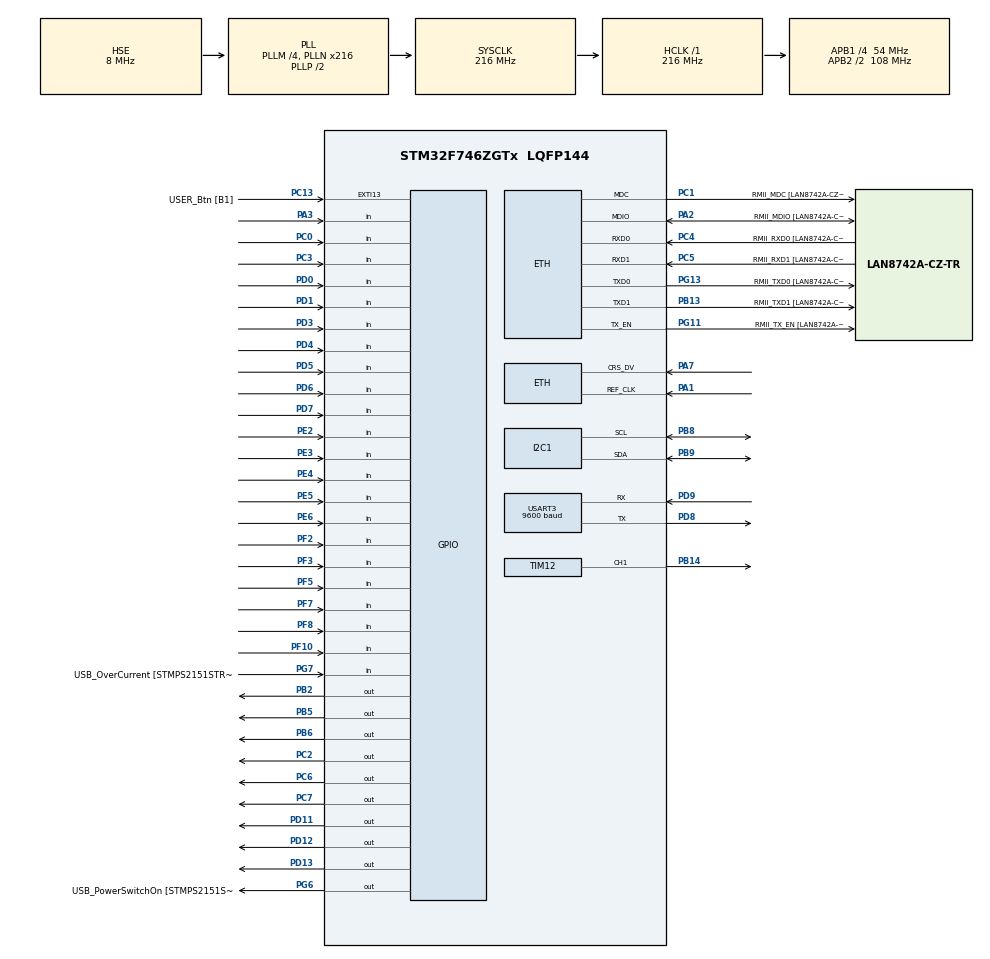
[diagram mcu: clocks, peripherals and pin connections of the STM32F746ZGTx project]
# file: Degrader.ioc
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CORTEX_M7.MPU_Control=__NULL
ETH.MediaInterface=HAL_ETH_RMII_MODE
I2C1.Timing=0x20404768
LWIP.BSP.number=1
LWIP.ETHARP_DEBUG=LWIP_DBG_ON
LWIP.ETH_RX_BUFFER_CNT=20
LWIP.GATEWAY_ADDRESS=192.168.007.001
LWIP.ICMP_DEBUG=LWIP_DBG_ON
LWIP.IP_ADDRESS=192.168.007.104
LWIP.LWIP_DHCP=0
LWIP.LWIP_RAM_HEAP_POINTER=0x20010000
LWIP.MEMP_NUM_PBUF=20
LWIP.MEMP_NUM_TCP_PCB_LISTEN=2
LWIP.MEM_DEBUG=LWIP_DBG_ON
LWIP.MEM_SIZE=20000
LWIP.NETMASK_ADDRESS=255.255.255.000
LWIP.PBUF_DEBUG=LWIP_DBG_ON
LWIP.PBUF_POOL_SIZE=20
LWIP.RAW_DEBUG=LWIP_DBG_ON
LWIP.SYS_DEBUG=LWIP_DBG_ON
LWIP.TCPIP_DEBUG=LWIP_DBG_ON
LWIP.TCP_DEBUG=LWIP_DBG_ON
LWIP.TCP_INPUT_DEBUG=LWIP_DBG_ON
LWIP.TCP_OUTPUT_DEBUG=LWIP_DBG_ON
LWIP.Version=v2.1.2_Cube
LWIP0.BSP.STBoard=false
LWIP0.BSP.api=BSP_COMPONENT_DRIVER
LWIP0.BSP.component=LAN8742
LWIP0.BSP.instance=LAN8742
LWIP0.BSP.name=Driver_PHY
LWIP0.BSP.semaphore=S_LAN8742
LWIP0.BSP.solution=LAN8742
Mcu.Family=STM32F7
Mcu.Name=STM32F746ZGTx
Mcu.Package=LQFP144
NVIC.PriorityGroup=NVIC_PRIORITYGROUP_4
NVIC.TIM2_IRQn=true\:0\:0\:false\:false\:true\:true\:true\:true
NVIC.TIM8_BRK_TIM12_IRQn=true\:0\:0\:false\:false\:true\:true\:true\:true
PA1.Mode=RMII
PA1.Signal=ETH_REF_CLK
PA10.GPIO_Label=USB_ID
PA10.Signal=USB_OTG_FS_ID
PA11.GPIO_Label=USB_DM
PA11.Signal=USB_OTG_FS_DM
PA12.GPIO_Label=USB_DP
PA12.Signal=USB_OTG_FS_DP
PA13.GPIO_Label=TMS
PA13.Mode=Serial_Wire
PA13.Signal=SYS_JTMS-SWDIO
PA14.GPIO_Label=TCK
PA14.Mode=Serial_Wire
PA14.Signal=SYS_JTCK-SWCLK
PA2.GPIO_Label=RMII_MDIO [LAN8742A-CZ-TR_MDIO]
PA2.Mode=RMII
PA2.Signal=ETH_MDIO
PA3.GPIO_PuPd=GPIO_PULLDOWN
PA3.Signal=GPIO_Input
PA7.Mode=RMII
PA7.Signal=ETH_CRS_DV
PA8.GPIO_Label=USB_SOF [TP1]
PA8.Signal=USB_OTG_FS_SOF
PA9.GPIO_Label=USB_VBUS
PA9.Signal=USB_OTG_FS_VBUS
PB13.GPIO_Label=RMII_TXD1 [LAN8742A-CZ-TR_TXD1]
PB13.Mode=RMII
PB13.Signal=ETH_TXD1
PB14.Signal=S_TIM12_CH1
PB2.GPIO_PuPd=GPIO_PULLUP
PB2.PinState=GPIO_PIN_SET
PB2.Signal=GPIO_Output
PB3.GPIO_Label=SW0
PB3.Signal=SYS_JTDO-SWO
PB5.GPIO_PuPd=GPIO_PULLDOWN
PB5.Signal=GPIO_Output
PB6.PinState=GPIO_PIN_SET
PB6.Signal=GPIO_Output
PB8.Mode=I2C
PB8.Signal=I2C1_SCL
PB9.Mode=I2C
PB9.Signal=I2C1_SDA
PC0.GPIO_PuPd=GPIO_PULLDOWN
PC0.Signal=GPIO_Input
PC1.GPIO_Label=RMII_MDC [LAN8742A-CZ-TR_MDC]
PC1.Mode=RMII
PC1.Signal=ETH_MDC
PC13.GPIO_Label=USER_Btn [B1]
PC13.GPIO_PuPd=GPIO_PULLDOWN
PC13.Signal=GPXTI13
PC14/OSC32_IN.Mode=LSE-External-Oscillator
PC14/OSC32_IN.Signal=RCC_OSC32_IN
PC15/OSC32_OUT.Mode=LSE-External-Oscillator
PC15/OSC32_OUT.Signal=RCC_OSC32_OUT
PC2.GPIO_PuPd=GPIO_NOPULL
PC2.PinState=GPIO_PIN_SET
PC2.Signal=GPIO_Output
PC3.GPIO_PuPd=GPIO_PULLDOWN
PC3.Signal=GPIO_Input
PC4.GPIO_Label=RMII_RXD0 [LAN8742A-CZ-TR_RXD0]
PC4.Mode=RMII
PC4.Signal=ETH_RXD0
PC5.GPIO_Label=RMII_RXD1 [LAN8742A-CZ-TR_RXD1]
PC5.Mode=RMII
PC5.Signal=ETH_RXD1
PC6.GPIO_ModeDefaultOutputPP=GPIO_MODE_OUTPUT_PP
PC6.GPIO_PuPd=GPIO_PULLDOWN
PC6.Signal=GPIO_Output
PC7.GPIO_ModeDefaultOutputPP=GPIO_MODE_OUTPUT_PP
PC7.GPIO_PuPd=GPIO_PULLDOWN
PC7.Signal=GPIO_Output
PD0.GPIO_PuPd=GPIO_PULLDOWN
PD0.Signal=GPIO_Input
PD1.GPIO_PuPd=GPIO_PULLDOWN
PD1.Signal=GPIO_Input
PD11.GPIO_PuPd=GPIO_PULLDOWN
PD11.GPIO_Speed=GPIO_SPEED_FREQ_LOW
PD11.Signal=GPIO_Output
PD12.GPIO_PuPd=GPIO_PULLDOWN
PD12.PinState=GPIO_PIN_RESET
PD12.Signal=GPIO_Output
PD13.GPIO_PuPd=GPIO_PULLDOWN
PD13.Signal=GPIO_Output
PD3.GPIO_PuPd=GPIO_PULLDOWN
PD3.Signal=GPIO_Input
PD4.GPIO_PuPd=GPIO_PULLDOWN
PD4.Signal=GPIO_Input
PD5.GPIO_PuPd=GPIO_PULLDOWN
PD5.Signal=GPIO_Input
PD6.GPIO_PuPd=GPIO_PULLDOWN
PD6.Signal=GPIO_Input
PD7.GPIO_PuPd=GPIO_PULLDOWN
PD7.Signal=GPIO_Input
PD8.GPIO_ModeDefaultPP=GPIO_MODE_AF_PP
PD8.GPIO_PuPd=GPIO_NOPULL
PD8.GPIO_Speed=GPIO_SPEED_FREQ_VERY_HIGH
PD8.Mode=Asynchronous
PD8.Signal=USART3_TX
PD9.GPIO_ModeDefaultPP=GPIO_MODE_AF_PP
PD9.GPIO_PuPd=GPIO_NOPULL
PD9.GPIO_Speed=GPIO_SPEED_FREQ_VERY_HIGH
PD9.Mode=Asynchronous
PD9.Signal=USART3_RX
PE2.GPIO_PuPd=GPIO_PULLDOWN
PE2.Signal=GPIO_Input
PE3.GPIO_PuPd=GPIO_PULLDOWN
PE3.Signal=GPIO_Input
PE4.GPIO_PuPd=GPIO_PULLDOWN
PE4.Signal=GPIO_Input
PE5.GPIO_PuPd=GPIO_PULLDOWN
PE5.Signal=GPIO_Input
PE6.GPIO_PuPd=GPIO_PULLDOWN
PE6.Signal=GPIO_Input
PF10.GPIO_PuPd=GPIO_PULLDOWN
PF10.Signal=GPIO_Input
PF2.GPIO_PuPd=GPIO_PULLDOWN
PF2.Signal=GPIO_Input
PF3.GPIO_PuPd=GPIO_PULLDOWN
PF3.Signal=GPIO_Input
PF5.GPIO_PuPd=GPIO_PULLDOWN
PF5.Signal=GPIO_Input
PF7.GPIO_PuPd=GPIO_PULLDOWN
PF7.Signal=GPIO_Input
PF8.GPIO_PuPd=GPIO_PULLDOWN
PF8.Signal=GPIO_Input
PG11.GPIO_Label=RMII_TX_EN [LAN8742A-CZ-TR_TXEN]
PG11.Mode=RMII
PG11.Signal=ETH_TX_EN
PG13.GPIO_Label=RMII_TXD0 [LAN8742A-CZ-TR_TXD0]
PG13.Mode=RMII
PG13.Signal=ETH_TXD0
PG6.GPIO_Label=USB_PowerSwitchOn [STMPS2151STR_EN]
PG6.Signal=GPIO_Output
PG7.GPIO_Label=USB_OverCurrent [STMPS2151STR_FAULT]
PG7.Signal=GPIO_Input
PH0/OSC_IN.GPIO_Label=MCO [STM32F103CBT6_PA8]
PH0/OSC_IN.Mode=HSE-External-Clock-Source
PH0/OSC_IN.Signal=RCC_OSC_IN
PH1/OSC_OUT.Mode=HSE-External-Clock-Source
PH1/OSC_OUT.Signal=RCC_OSC_OUT
ProjectManager.HeapSize=0x200
ProjectManager.StackSize=0x400
ProjectManager.TargetToolchain=STM32CubeIDE
RCC.48MHZClocksFreq_Value=24000000
RCC.AHBFreq_Value=216000000
RCC.APB1CLKDivider=RCC_HCLK_DIV4
RCC.APB1Freq_Value=54000000
RCC.APB1TimFreq_Value=108000000
RCC.APB2CLKDivider=RCC_HCLK_DIV2
RCC.APB2Freq_Value=108000000
RCC.APB2TimFreq_Value=216000000
RCC.CortexFreq_Value=216000000
RCC.HCLKFreq_Value=216000000
RCC.HSE_VALUE=8000000
RCC.HSI_VALUE=16000000
RCC.PLLM=4
RCC.PLLMUL=RCC_PLL_MUL9
RCC.PLLN=216
RCC.PLLQ=9
RCC.PLLSourceVirtual=RCC_PLLSOURCE_HSE
RCC.PRESCALERUSB=RCC_USBCLKSOURCE_PLL_DIV1_5
RCC.SYSCLKFreq_VALUE=216000000
RCC.SYSCLKSource=RCC_SYSCLKSOURCE_PLLCLK
RCC.SYSCLKSourceVirtual=RCC_SYSCLKSOURCE_PLLCLK
RCC.USART3CLockSelection=RCC_USART3CLKSOURCE_HSI
RCC.USBFreq_Value=48000000
RCC.VCOOutputFreq_Value=432000000
SH.S_TIM12_CH1.0=TIM12_CH1,PWM Generation1 CH1
TIM12.AutoReloadPreload=TIM_AUTORELOAD_PRELOAD_ENABLE
TIM12.Channel-PWM\ Generation1\ CH1=TIM_CHANNEL_1
TIM12.OC1Preload_PWM=DISABLE
TIM12.OCFastMode_PWM-PWM\ Generation1\ CH1=TIM_OCFAST_ENABLE
TIM12.Period=500-1
TIM12.Prescaler=1080-1
TIM12.Pulse-PWM\ Generation1\ CH1=100-1
TIM2.AutoReloadPreload=TIM_AUTORELOAD_PRELOAD_ENABLE
TIM2.Prescaler=261-1
TIM4.AutoReloadPreload=TIM_AUTORELOAD_PRELOAD_ENABLE
TIM4.Prescaler=32000
USART3.BaudRate=9600
USART3.OverSampling=UART_OVERSAMPLING_8
USART3.VirtualMode-Asynchronous=VM_ASYNC
VP_LWIP_VS_Enabled.Mode=Enabled
VP_TIM2_VS_ClockSourceITR.Mode=TriggerSource_ITR3
VP_TIM4_VS_ClockSourceINT.Mode=Internal
board=NUCLEO-F746ZG

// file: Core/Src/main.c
/* USER CODE BEGIN Header */
/**
  ******************************************************************************
  * @file           : main.c
  * @brief          : Main program body
  ******************************************************************************
  * @attention
  *
  * Copyright (c) 2025 STMicroelectronics.
  * All rights reserved.
  *
  * This software is licensed under terms that can be found in the LICENSE file
  * in the root directory of this software component.
  * If no LICENSE file comes with this software, it is provided AS-IS.
  *
  ******************************************************************************
  */
/* USER CODE END Header */
#include "main.h"
#include "lwip.h"

/* USER CODE BEGIN Includes */
#include <stddef.h>
#include "degrader_utils.h"
#include "tcp_client_utils.h"
#include "tcp_server_utils.h"
#include "tcp_utils.h"
/* USER CODE END Includes */

I2C_HandleTypeDef hi2c1;

TIM_HandleTypeDef htim2;
TIM_HandleTypeDef htim4;
TIM_HandleTypeDef htim12;

UART_HandleTypeDef huart3;

/* USER CODE BEGIN PV */
// Define setup lens pins
static lens lens_2mm = {
    .isSelected = 0,
	.position = 1,
    .off = {.port = GPIOD, .pin = GPIO_PIN_1},
    .on = {.port = GPIOE, .pin = GPIO_PIN_5},
	.limSelectSwitch = {.port = GPIOD, .pin = GPIO_PIN_3}
};

// Define setup lens pins
static lens lens_3mm = {
    .isSelected = 0,
	.position = 2,
    .off = {.port = GPIOA, .pin = GPIO_PIN_3},
    .on = {.port = GPIOE, .pin = GPIO_PIN_2},
	.limSelectSwitch = {.port = GPIOF, .pin = GPIO_PIN_8}
};

static lens lens_6mm = {
	.isSelected = 0,
	.position = 3,
	.off = {.port = GPIOD, .pin = GPIO_PIN_7},
	.on = {.port = GPIOE, .pin = GPIO_PIN_4},
	.limSelectSwitch = {.port = GPIOF, .pin = GPIO_PIN_3}
};

static lens lens_8mm = {
	.isSelected = 0,
	.position = 4,
	.off = {.port = GPIOF, .pin = GPIO_PIN_5},
	.on = {.port = GPIOE, .pin = GPIO_PIN_6},
	.limSelectSwitch = {.port = GPIOF, .pin = GPIO_PIN_7}
};

static lens lens_10mm = {
	.isSelected = 0,
	.position = 5,
	.off = {.port = GPIOD, .pin = GPIO_PIN_0},
	.on = {.port = GPIOD, .pin = GPIO_PIN_4},
	.limSelectSwitch = {.port = GPIOF, .pin = GPIO_PIN_2}
};

static lens lens_12mm = {
	.isSelected = 0,
	.position = 6,
	.off = {.port = GPIOF, .pin = GPIO_PIN_10},
	.on = {.port = GPIOD, .pin = GPIO_PIN_6},
	.limSelectSwitch = {.port = GPIOC, .pin = GPIO_PIN_0}
};

static lens lens_30mm = {
	.isSelected = 0,
	.position = 7,
	.off = {.port = GPIOE, .pin = GPIO_PIN_3},
	.on = {.port = GPIOD, .pin = GPIO_PIN_5},
	.limSelectSwitch = {.port = GPIOC, .pin = GPIO_PIN_3}
};

//Setup DC Motor pins
static dcMotor dc_motor = {
		.isOn = 0,
		.EN_Pin = {.port = GPIOB, .pin = GPIO_PIN_5},
		.IN1_Pin = {.port = GPIOC, .pin = GPIO_PIN_7},
		.IN2_Pin = {.port = GPIOC, .pin = GPIO_PIN_6}
};

static stepper stepper_motor = {
		.isOn = 0,
		.current_stepper_position = 0,
		.Sleep_Pin = {.port = GPIOB, .pin = GPIO_PIN_6},
		.Reset_Pin = {.port = GPIOB, .pin = GPIO_PIN_2},
		.MS1_Pin = {.port = GPIOD, .pin = GPIO_PIN_11},
		.MS2_Pin = {.port = GPIOD, .pin = GPIO_PIN_12},
		.MS3_Pin = {.port = GPIOD, .pin = GPIO_PIN_13},
		.Dir_Pin = {.port = GPIOC, .pin = GPIO_PIN_2}
};

static tcp_options tcpOpt = {
		.huart = &huart3,
		.is_connected = 0
};

static lens *all_lenses[] = {&lens_2mm, &lens_3mm, &lens_6mm, &lens_8mm, &lens_10mm, &lens_12mm, &lens_30mm};

static degraderItems degrader_item = {
		.num_lenses = 7,
		.current_lenses_state = {.command = 0},
		.desired_lenses_state = {.command = 0},
		.dc_motor_position = -1,
		.lenses = all_lenses,
		.dc_motor = &dc_motor,
		.stepper_motor = &stepper_motor,
		.resp = {.response = 0},
		.command_received = 0
};

/* USER CODE END PV */

void SystemClock_Config(void);
static void MX_GPIO_Init(void);
static void MX_I2C1_Init(void);
static void MX_USART3_UART_Init(void);
static void MX_TIM2_Init(void);
static void MX_TIM12_Init(void);
static void MX_TIM4_Init(void);

int main(void)
{

  /* MCU Configuration--------------------------------------------------------*/

  /* Reset of all peripherals, Initializes the Flash interface and the Systick. */
  HAL_Init();

  /* Configure the system clock */
  SystemClock_Config();

  /* Initialize all configured peripherals */
  MX_GPIO_Init();
  MX_I2C1_Init();
  MX_USART3_UART_Init();
  MX_LWIP_Init();
  MX_TIM2_Init();
  MX_TIM12_Init();
  MX_TIM4_Init();
  /* USER CODE BEGIN 2 */

  HAL_TIM_PWM_Start(&htim12, TIM_CHANNEL_1); // PWM signal for the step pin on the stepper driver.
  HAL_UART_Transmit(&huart3, (uint8_t*)"Tando Mahlati (23540850)\n", 25, HAL_MAX_DELAY);

  uint32_t tcp_send_last = 0;
  uint32_t lwip_tick = 0;

//  Start Server and client
  start_tcp_server(&tcpOpt);

//  Start degrader
  degrader_init(&degrader_item);

  /* USER CODE END 2 */

  /* Infinite loop */
  /* USER CODE BEGIN WHILE */
  while (1)
  {
	  if((HAL_GetTick()-lwip_tick)>=1){
	  		  MX_LWIP_Process();
	  		  lwip_tick = HAL_GetTick();
	  }
//	  MX_LWIP_Process();

// Periodically send of data.
	  if((HAL_GetTick()- tcp_send_last) >= 500){

		  char message[7];
		  encode_response(message, degrader_item.resp);
		  tcp_client_send(message, strlen(message), &tcpOpt);
		  tcp_send_last = HAL_GetTick();
	  }

//	  Run degrader
	  DEGRADER_PROCESS(&tcpOpt, &degrader_item);

    /* USER CODE END WHILE */

  }
}

void SystemClock_Config(void)
{
  RCC_OscInitTypeDef RCC_OscInitStruct = {0};
  RCC_ClkInitTypeDef RCC_ClkInitStruct = {0};

  /** Configure LSE Drive Capability
  */
  HAL_PWR_EnableBkUpAccess();

  /** Configure the main internal regulator output voltage
  */
  __HAL_RCC_PWR_CLK_ENABLE();
  __HAL_PWR_VOLTAGESCALING_CONFIG(PWR_REGULATOR_VOLTAGE_SCALE1);

  /** Initializes the RCC Oscillators according to the specified parameters
  * in the RCC_OscInitTypeDef structure.
  */
  RCC_OscInitStruct.OscillatorType = RCC_OSCILLATORTYPE_HSI|RCC_OSCILLATORTYPE_HSE;
  RCC_OscInitStruct.HSEState = RCC_HSE_BYPASS;
  RCC_OscInitStruct.HSIState = RCC_HSI_ON;
  RCC_OscInitStruct.HSICalibrationValue = RCC_HSICALIBRATION_DEFAULT;
  RCC_OscInitStruct.PLL.PLLState = RCC_PLL_ON;
  RCC_OscInitStruct.PLL.PLLSource = RCC_PLLSOURCE_HSE;
  RCC_OscInitStruct.PLL.PLLM = 4;
  RCC_OscInitStruct.PLL.PLLN = 216;
  RCC_OscInitStruct.PLL.PLLP = RCC_PLLP_DIV2;
  RCC_OscInitStruct.PLL.PLLQ = 9;
  if (HAL_RCC_OscConfig(&RCC_OscInitStruct) != HAL_OK)
  {
    Error_Handler();
  }

  /** Activate the Over-Drive mode
  */
  if (HAL_PWREx_EnableOverDrive() != HAL_OK)
  {
    Error_Handler();
  }

  /** Initializes the CPU, AHB and APB buses clocks
  */
  RCC_ClkInitStruct.ClockType = RCC_CLOCKTYPE_HCLK|RCC_CLOCKTYPE_SYSCLK
                              |RCC_CLOCKTYPE_PCLK1|RCC_CLOCKTYPE_PCLK2;
  RCC_ClkInitStruct.SYSCLKSource = RCC_SYSCLKSOURCE_PLLCLK;
  RCC_ClkInitStruct.AHBCLKDivider = RCC_SYSCLK_DIV1;
  RCC_ClkInitStruct.APB1CLKDivider = RCC_HCLK_DIV4;
  RCC_ClkInitStruct.APB2CLKDivider = RCC_HCLK_DIV2;

  if (HAL_RCC_ClockConfig(&RCC_ClkInitStruct, FLASH_LATENCY_7) != HAL_OK)
  {
    Error_Handler();
  }
}

static void MX_I2C1_Init(void)
{

  hi2c1.Instance = I2C1;
  hi2c1.Init.Timing = 0x20404768;
  hi2c1.Init.OwnAddress1 = 0;
  hi2c1.Init.AddressingMode = I2C_ADDRESSINGMODE_7BIT;
  hi2c1.Init.DualAddressMode = I2C_DUALADDRESS_DISABLE;
  hi2c1.Init.OwnAddress2 = 0;
  hi2c1.Init.OwnAddress2Masks = I2C_OA2_NOMASK;
  hi2c1.Init.GeneralCallMode = I2C_GENERALCALL_DISABLE;
  hi2c1.Init.NoStretchMode = I2C_NOSTRETCH_DISABLE;
  if (HAL_I2C_Init(&hi2c1) != HAL_OK)
  {
    Error_Handler();
  }

  /** Configure Analogue filter
  */
  if (HAL_I2CEx_ConfigAnalogFilter(&hi2c1, I2C_ANALOGFILTER_ENABLE) != HAL_OK)
  {
    Error_Handler();
  }

  /** Configure Digital filter
  */
  if (HAL_I2CEx_ConfigDigitalFilter(&hi2c1, 0) != HAL_OK)
  {
    Error_Handler();
  }

}

static void MX_TIM2_Init(void)
{

  TIM_SlaveConfigTypeDef sSlaveConfig = {0};
  TIM_MasterConfigTypeDef sMasterConfig = {0};

  htim2.Instance = TIM2;
  htim2.Init.Prescaler = 261-1;
  htim2.Init.CounterMode = TIM_COUNTERMODE_UP;
  htim2.Init.Period = 4294967295;
  htim2.Init.ClockDivision = TIM_CLOCKDIVISION_DIV1;
  htim2.Init.AutoReloadPreload = TIM_AUTORELOAD_PRELOAD_ENABLE;
  if (HAL_TIM_Base_Init(&htim2) != HAL_OK)
  {
    Error_Handler();
  }
  sSlaveConfig.SlaveMode = TIM_SLAVEMODE_DISABLE;
  sSlaveConfig.InputTrigger = TIM_TS_ITR3;
  if (HAL_TIM_SlaveConfigSynchro(&htim2, &sSlaveConfig) != HAL_OK)
  {
    Error_Handler();
  }
  sMasterConfig.MasterOutputTrigger = TIM_TRGO_RESET;
  sMasterConfig.MasterSlaveMode = TIM_MASTERSLAVEMODE_DISABLE;
  if (HAL_TIMEx_MasterConfigSynchronization(&htim2, &sMasterConfig) != HAL_OK)
  {
    Error_Handler();
  }

}

static void MX_TIM4_Init(void)
{

  TIM_ClockConfigTypeDef sClockSourceConfig = {0};
  TIM_MasterConfigTypeDef sMasterConfig = {0};

  htim4.Instance = TIM4;
  htim4.Init.Prescaler = 32000;
  htim4.Init.CounterMode = TIM_COUNTERMODE_UP;
  htim4.Init.Period = 65535;
  htim4.Init.ClockDivision = TIM_CLOCKDIVISION_DIV1;
  htim4.Init.AutoReloadPreload = TIM_AUTORELOAD_PRELOAD_ENABLE;
  if (HAL_TIM_Base_Init(&htim4) != HAL_OK)
  {
    Error_Handler();
  }
  sClockSourceConfig.ClockSource = TIM_CLOCKSOURCE_INTERNAL;
  if (HAL_TIM_ConfigClockSource(&htim4, &sClockSourceConfig) != HAL_OK)
  {
    Error_Handler();
  }
  sMasterConfig.MasterOutputTrigger = TIM_TRGO_RESET;
  sMasterConfig.MasterSlaveMode = TIM_MASTERSLAVEMODE_DISABLE;
  if (HAL_TIMEx_MasterConfigSynchronization(&htim4, &sMasterConfig) != HAL_OK)
  {
    Error_Handler();
  }

}

static void MX_TIM12_Init(void)
{

  TIM_OC_InitTypeDef sConfigOC = {0};

  htim12.Instance = TIM12;
  htim12.Init.Prescaler = 1080-1;
  htim12.Init.CounterMode = TIM_COUNTERMODE_UP;
  htim12.Init.Period = 500-1;
  htim12.Init.ClockDivision = TIM_CLOCKDIVISION_DIV1;
  htim12.Init.AutoReloadPreload = TIM_AUTORELOAD_PRELOAD_ENABLE;
  if (HAL_TIM_PWM_Init(&htim12) != HAL_OK)
  {
    Error_Handler();
  }
  sConfigOC.OCMode = TIM_OCMODE_PWM1;
  sConfigOC.Pulse = 100-1;
  sConfigOC.OCPolarity = TIM_OCPOLARITY_HIGH;
  sConfigOC.OCFastMode = TIM_OCFAST_ENABLE;
  if (HAL_TIM_PWM_ConfigChannel(&htim12, &sConfigOC, TIM_CHANNEL_1) != HAL_OK)
  {
    Error_Handler();
  }
  __HAL_TIM_DISABLE_OCxPRELOAD(&htim12, TIM_CHANNEL_1);
  HAL_TIM_MspPostInit(&htim12);

}

static void MX_USART3_UART_Init(void)
{

  huart3.Instance = USART3;
  huart3.Init.BaudRate = 9600;
  huart3.Init.WordLength = UART_WORDLENGTH_8B;
  huart3.Init.StopBits = UART_STOPBITS_1;
  huart3.Init.Parity = UART_PARITY_NONE;
  huart3.Init.Mode = UART_MODE_TX_RX;
  huart3.Init.HwFlowCtl = UART_HWCONTROL_NONE;
  huart3.Init.OverSampling = UART_OVERSAMPLING_8;
  huart3.Init.OneBitSampling = UART_ONE_BIT_SAMPLE_DISABLE;
  huart3.AdvancedInit.AdvFeatureInit = UART_ADVFEATURE_NO_INIT;
  if (HAL_UART_Init(&huart3) != HAL_OK)
  {
    Error_Handler();
  }

}

static void MX_GPIO_Init(void)
{
  GPIO_InitTypeDef GPIO_InitStruct = {0};

  /* GPIO Ports Clock Enable */
  __HAL_RCC_GPIOE_CLK_ENABLE();
  __HAL_RCC_GPIOC_CLK_ENABLE();
  __HAL_RCC_GPIOF_CLK_ENABLE();
  __HAL_RCC_GPIOH_CLK_ENABLE();
  __HAL_RCC_GPIOA_CLK_ENABLE();
  __HAL_RCC_GPIOB_CLK_ENABLE();
  __HAL_RCC_GPIOD_CLK_ENABLE();
  __HAL_RCC_GPIOG_CLK_ENABLE();

  /*Configure GPIO pin Output Level */
  HAL_GPIO_WritePin(GPIOC, GPIO_PIN_2, GPIO_PIN_SET);

  /*Configure GPIO pin Output Level */
  HAL_GPIO_WritePin(GPIOB, GPIO_PIN_2|GPIO_PIN_6, GPIO_PIN_SET);

  /*Configure GPIO pin Output Level */
  HAL_GPIO_WritePin(GPIOD, GPIO_PIN_11|GPIO_PIN_12|GPIO_PIN_13, GPIO_PIN_RESET);

  /*Configure GPIO pin Output Level */
  HAL_GPIO_WritePin(USB_PowerSwitchOn_GPIO_Port, USB_PowerSwitchOn_Pin, GPIO_PIN_RESET);

  /*Configure GPIO pin Output Level */
  HAL_GPIO_WritePin(GPIOC, GPIO_PIN_6|GPIO_PIN_7, GPIO_PIN_RESET);

  /*Configure GPIO pin Output Level */
  HAL_GPIO_WritePin(GPIOB, GPIO_PIN_5, GPIO_PIN_RESET);

  /*Configure GPIO pins : PE2 PE3 PE4 PE5
                           PE6 */
  GPIO_InitStruct.Pin = GPIO_PIN_2|GPIO_PIN_3|GPIO_PIN_4|GPIO_PIN_5
                          |GPIO_PIN_6;
  GPIO_InitStruct.Mode = GPIO_MODE_INPUT;
  GPIO_InitStruct.Pull = GPIO_PULLDOWN;
  HAL_GPIO_Init(GPIOE, &GPIO_InitStruct);

  /*Configure GPIO pin : USER_Btn_Pin */
  GPIO_InitStruct.Pin = USER_Btn_Pin;
  GPIO_InitStruct.Mode = GPIO_MODE_IT_RISING;
  GPIO_InitStruct.Pull = GPIO_PULLDOWN;
  HAL_GPIO_Init(USER_Btn_GPIO_Port, &GPIO_InitStruct);

  /*Configure GPIO pins : PF2 PF3 PF5 PF7
                           PF8 PF10 */
  GPIO_InitStruct.Pin = GPIO_PIN_2|GPIO_PIN_3|GPIO_PIN_5|GPIO_PIN_7
                          |GPIO_PIN_8|GPIO_PIN_10;
  GPIO_InitStruct.Mode = GPIO_MODE_INPUT;
  GPIO_InitStruct.Pull = GPIO_PULLDOWN;
  HAL_GPIO_Init(GPIOF, &GPIO_InitStruct);

  /*Configure GPIO pins : PC0 PC3 */
  GPIO_InitStruct.Pin = GPIO_PIN_0|GPIO_PIN_3;
  GPIO_InitStruct.Mode = GPIO_MODE_INPUT;
  GPIO_InitStruct.Pull = GPIO_PULLDOWN;
  HAL_GPIO_Init(GPIOC, &GPIO_InitStruct);

  /*Configure GPIO pin : PC2 */
  GPIO_InitStruct.Pin = GPIO_PIN_2;
  GPIO_InitStruct.Mode = GPIO_MODE_OUTPUT_PP;
  GPIO_InitStruct.Pull = GPIO_NOPULL;
  GPIO_InitStruct.Speed = GPIO_SPEED_FREQ_LOW;
  HAL_GPIO_Init(GPIOC, &GPIO_InitStruct);

  /*Configure GPIO pin : PA3 */
  GPIO_InitStruct.Pin = GPIO_PIN_3;
  GPIO_InitStruct.Mode = GPIO_MODE_INPUT;
  GPIO_InitStruct.Pull = GPIO_PULLDOWN;
  HAL_GPIO_Init(GPIOA, &GPIO_InitStruct);

  /*Configure GPIO pin : PB2 */
  GPIO_InitStruct.Pin = GPIO_PIN_2;
  GPIO_InitStruct.Mode = GPIO_MODE_OUTPUT_PP;
  GPIO_InitStruct.Pull = GPIO_PULLUP;
  GPIO_InitStruct.Speed = GPIO_SPEED_FREQ_LOW;
  HAL_GPIO_Init(GPIOB, &GPIO_InitStruct);

  /*Configure GPIO pins : PD11 PD12 PD13 */
  GPIO_InitStruct.Pin = GPIO_PIN_11|GPIO_PIN_12|GPIO_PIN_13;
  GPIO_InitStruct.Mode = GPIO_MODE_OUTPUT_PP;
  GPIO_InitStruct.Pull = GPIO_PULLDOWN;
  GPIO_InitStruct.Speed = GPIO_SPEED_FREQ_LOW;
  HAL_GPIO_Init(GPIOD, &GPIO_InitStruct);

  /*Configure GPIO pin : USB_PowerSwitchOn_Pin */
  GPIO_InitStruct.Pin = USB_PowerSwitchOn_Pin;
  GPIO_InitStruct.Mode = GPIO_MODE_OUTPUT_PP;
  GPIO_InitStruct.Pull = GPIO_NOPULL;
  GPIO_InitStruct.Speed = GPIO_SPEED_FREQ_LOW;
  HAL_GPIO_Init(USB_PowerSwitchOn_GPIO_Port, &GPIO_InitStruct);

  /*Configure GPIO pin : USB_OverCurrent_Pin */
  GPIO_InitStruct.Pin = USB_OverCurrent_Pin;
  GPIO_InitStruct.Mode = GPIO_MODE_INPUT;
  GPIO_InitStruct.Pull = GPIO_NOPULL;
  HAL_GPIO_Init(USB_OverCurrent_GPIO_Port, &GPIO_InitStruct);

  /*Configure GPIO pins : PC6 PC7 */
  GPIO_InitStruct.Pin = GPIO_PIN_6|GPIO_PIN_7;
  GPIO_InitStruct.Mode = GPIO_MODE_OUTPUT_PP;
  GPIO_InitStruct.Pull = GPIO_PULLDOWN;
  GPIO_InitStruct.Speed = GPIO_SPEED_FREQ_LOW;
  HAL_GPIO_Init(GPIOC, &GPIO_InitStruct);

  /*Configure GPIO pins : USB_SOF_Pin USB_ID_Pin USB_DM_Pin USB_DP_Pin */
  GPIO_InitStruct.Pin = USB_SOF_Pin|USB_ID_Pin|USB_DM_Pin|USB_DP_Pin;
  GPIO_InitStruct.Mode = GPIO_MODE_AF_PP;
  GPIO_InitStruct.Pull = GPIO_NOPULL;
  GPIO_InitStruct.Speed = GPIO_SPEED_FREQ_VERY_HIGH;
  GPIO_InitStruct.Alternate = GPIO_AF10_OTG_FS;
  HAL_GPIO_Init(GPIOA, &GPIO_InitStruct);

  /*Configure GPIO pin : USB_VBUS_Pin */
  GPIO_InitStruct.Pin = USB_VBUS_Pin;
  GPIO_InitStruct.Mode = GPIO_MODE_INPUT;
  GPIO_InitStruct.Pull = GPIO_NOPULL;
  HAL_GPIO_Init(USB_VBUS_GPIO_Port, &GPIO_InitStruct);

  /*Configure GPIO pins : PD0 PD1 PD3 PD4
                           PD5 PD6 PD7 */
  GPIO_InitStruct.Pin = GPIO_PIN_0|GPIO_PIN_1|GPIO_PIN_3|GPIO_PIN_4
                          |GPIO_PIN_5|GPIO_PIN_6|GPIO_PIN_7;
  GPIO_InitStruct.Mode = GPIO_MODE_INPUT;
  GPIO_InitStruct.Pull = GPIO_PULLDOWN;
  HAL_GPIO_Init(GPIOD, &GPIO_InitStruct);

  /*Configure GPIO pin : PB5 */
  GPIO_InitStruct.Pin = GPIO_PIN_5;
  GPIO_InitStruct.Mode = GPIO_MODE_OUTPUT_PP;
  GPIO_InitStruct.Pull = GPIO_PULLDOWN;
  GPIO_InitStruct.Speed = GPIO_SPEED_FREQ_LOW;
  HAL_GPIO_Init(GPIOB, &GPIO_InitStruct);

  /*Configure GPIO pin : PB6 */
  GPIO_InitStruct.Pin = GPIO_PIN_6;
  GPIO_InitStruct.Mode = GPIO_MODE_OUTPUT_PP;
  GPIO_InitStruct.Pull = GPIO_NOPULL;
  GPIO_InitStruct.Speed = GPIO_SPEED_FREQ_LOW;
  HAL_GPIO_Init(GPIOB, &GPIO_InitStruct);

}

void Error_Handler(void)
{
  __disable_irq();
  while (1)
  {
  }
}
